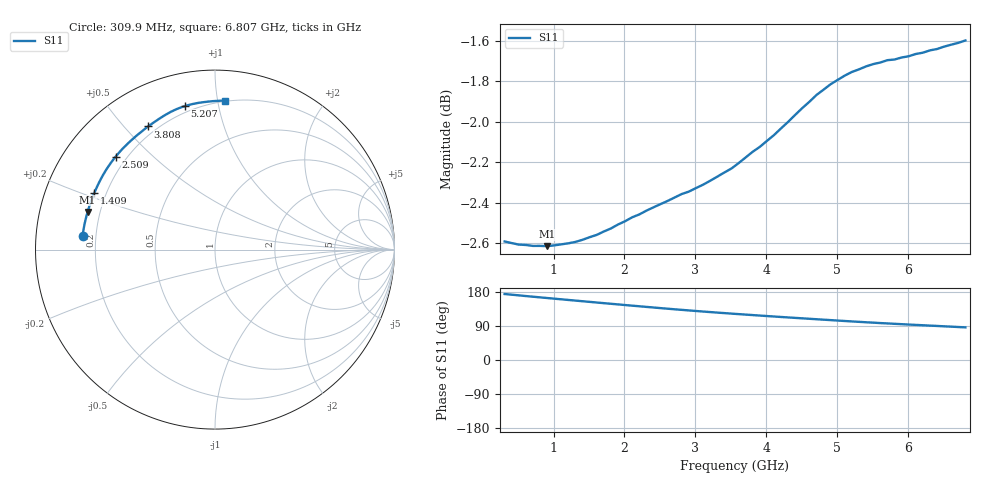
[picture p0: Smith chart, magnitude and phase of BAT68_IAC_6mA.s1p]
! Infineon Technologies  Discrete & RF Semiconductors
! BAT68
! IAC = 6 mA
! One-Port S-Parameters
# Hz  S  MA  R  50
!f  S11
!Hz  Mag  Ang
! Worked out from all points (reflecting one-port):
!   66 points, 309.9 MHz to 6.807 GHz, reference 50 ohm
!   lowest |S11| = -2.6 dB at 909.5 MHz (marker M1), VSWR 6.69, Z = 7.62 + j7.05 ohm
!   phase of S11 starts at 174 deg and turns -88 deg over the sweep
!   S11 on the Smith chart (normalised r, x): 309.9 MHz: 0.15, +0.05; 1.409 GHz: 0.15, +0.22; 2.509 GHz: 0.16, +0.39; 3.808 GHz: 0.17, +0.58; 5.207 GHz: 0.17, +0.80; 6.807 GHz: 0.19, +1.05
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3.0985e8  0.742 174.1
6.097e8  0.7406 168.8
9.0955e8  0.7401 163.6
1.0095e9  0.7404 161.8
1.2094e9  0.7413 158.4
1.4093e9  0.7428 155.0
1.70915e9  0.7463 150.0
2.009e9  0.7506 145.0
2.2089e9  0.7535 141.8
2.30885e9  0.7552 140.1
2.50875e9  0.758 136.9
2.70865e9  0.7609 133.8
2.8086e9  0.7624 132.3
2.90855e9  0.7634 130.8
3.2084e9  0.7681 126.5
3.6082e9  0.7758 121.1
3.8081e9  0.7809 118.5
4.2079e9  0.7914 113.5
4.4078e9  0.7975 111.1
4.6077e9  0.8034 108.7
4.8076e9  0.809 106.4
5.0075e9  0.8135 104.1
5.2074e9  0.8172 101.8
5.4073e9  0.8198 99.6
5.6072e9  0.8216 97.5
6.007e9  0.8245 93.6
6.30685e9  0.8273 90.8
6.8066e9  0.8319 86.1
